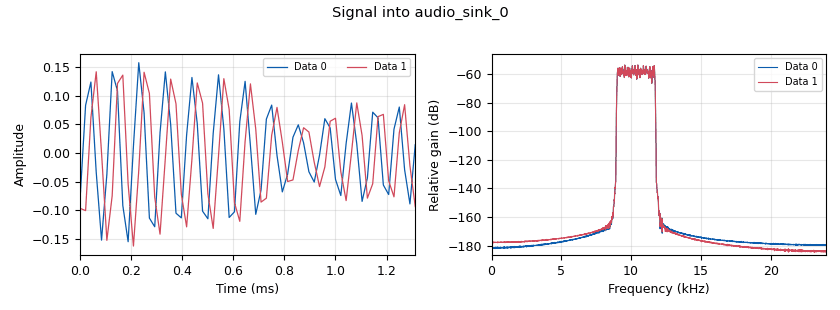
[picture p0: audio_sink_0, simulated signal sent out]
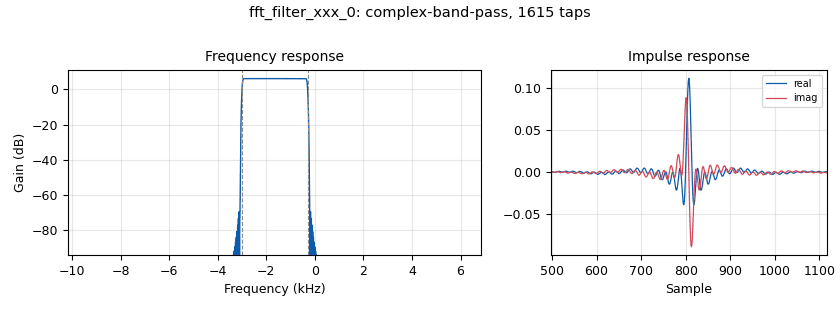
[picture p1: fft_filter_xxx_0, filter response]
<?xml version='1.0' encoding='utf-8'?>
<?grc format='1' created='3.7.10'?>
<flow_graph>
<block>
<key>options</key>
<param><key>id</key><value>tx_wav</value></param>
<param><key>generate_options</key><value>qt_gui</value></param>
</block>
<block>
<key>variable_qtgui_range</key>
<param><key>id</key><value>amp</value></param>
<param><key>value</key><value>3</value></param>
<param><key>orient</key><value>Qt.Horizontal</value></param>
<param><key>start</key><value>-40</value></param>
<param><key>step</key><value>1</value></param>
<param><key>stop</key><value>20</value></param>
</block>
<block>
<key>variable_qtgui_range</key>
<param><key>id</key><value>freq</value></param>
<param><key>value</key><value>samp_rate/4</value></param>
<param><key>orient</key><value>Qt.Horizontal</value></param>
<param><key>start</key><value>1e2</value></param>
<param><key>step</key><value>1</value></param>
<param><key>stop</key><value>samp_rate/2</value></param>
</block>
<block>
<key>variable</key>
<param><key>id</key><value>samp_rate</value></param>
<param><key>value</key><value>48e3</value></param>
</block>
<block>
<key>analog_agc_xx</key>
<param><key>id</key><value>analog_agc_xx_0</value></param>
<param><key>_enabled</key><value>0</value></param>
<param><key>gain</key><value>1.0</value></param>
<param><key>max_gain</key><value>65536</value></param>
<param><key>rate</key><value>1e-2</value></param>
<param><key>reference</key><value>0.5</value></param>
<param><key>type</key><value>complex</value></param>
</block>
<block>
<key>analog_noise_source_x</key>
<param><key>id</key><value>analog_noise_source_x_0</value></param>
<param><key>amp</key><value>pow(10.0,amp/10.0)</value></param>
<param><key>noise_type</key><value>analog.GR_GAUSSIAN</value></param>
<param><key>type</key><value>complex</value></param>
<param><key>seed</key><value>0</value></param>
</block>
<block>
<key>analog_sig_source_x</key>
<param><key>id</key><value>analog_sig_source_x_0</value></param>
<param><key>amp</key><value>0.1</value></param>
<param><key>freq</key><value>freq</value></param>
<param><key>offset</key><value>0</value></param>
<param><key>type</key><value>complex</value></param>
<param><key>samp_rate</key><value>samp_rate</value></param>
<param><key>waveform</key><value>analog.GR_COS_WAVE</value></param>
</block>
<block>
<key>audio_sink</key>
<param><key>id</key><value>audio_sink_0</value></param>
<param><key>num_inputs</key><value>2</value></param>
<param><key>samp_rate</key><value>int(samp_rate)</value></param>
</block>
<block>
<key>blocks_add_const_vxx</key>
<param><key>id</key><value>blocks_add_const_vxx_0</value></param>
<param><key>const</key><value>0</value></param>
<param><key>type</key><value>complex</value></param>
</block>
<block>
<key>blocks_complex_to_float</key>
<param><key>id</key><value>blocks_complex_to_float_0</value></param>
</block>
<block>
<key>blocks_float_to_complex</key>
<param><key>id</key><value>blocks_float_to_complex_0</value></param>
<param><key>_enabled</key><value>0</value></param>
</block>
<block>
<key>blocks_multiply_xx</key>
<param><key>id</key><value>blocks_multiply_xx_0</value></param>
<param><key>type</key><value>complex</value></param>
</block>
<block>
<key>blocks_wavfile_source</key>
<param><key>id</key><value>blocks_wavfile_source_0</value></param>
<param><key>_enabled</key><value>0</value></param>
<param><key>file</key><value>/home/handiko/Nightwish - Amaranth.wav</value></param>
<param><key>repeat</key><value>True</value></param>
</block>
<block>
<key>fft_filter_xxx</key>
<param><key>id</key><value>fft_filter_xxx_0</value></param>
<param><key>decim</key><value>1</value></param>
<param><key>taps</key><value>firdes.complex_band_pass(pow(10.0,amp/10.0),samp_rate,-3000,-300,100,firdes.WIN_BLACKMAN)</value></param>
<param><key>type</key><value>ccc</value></param>
</block>
<connection><source_block_id>analog_noise_source_x_0</source_block_id><sink_block_id>fft_filter_xxx_0</sink_block_id><source_key>0</source_key><sink_key>0</sink_key></connection>
<connection><source_block_id>analog_sig_source_x_0</source_block_id><sink_block_id>blocks_multiply_xx_0</sink_block_id><source_key>0</source_key><sink_key>1</sink_key></connection>
<connection><source_block_id>blocks_add_const_vxx_0</source_block_id><sink_block_id>blocks_multiply_xx_0</sink_block_id><source_key>0</source_key><sink_key>0</sink_key></connection>
<connection><source_block_id>blocks_complex_to_float_0</source_block_id><sink_block_id>audio_sink_0</sink_block_id><source_key>1</source_key><sink_key>1</sink_key></connection>
<connection><source_block_id>blocks_complex_to_float_0</source_block_id><sink_block_id>audio_sink_0</sink_block_id><source_key>0</source_key><sink_key>0</sink_key></connection>
<connection><source_block_id>blocks_float_to_complex_0</source_block_id><sink_block_id>fft_filter_xxx_0</sink_block_id><source_key>0</source_key><sink_key>0</sink_key></connection>
<connection><source_block_id>blocks_multiply_xx_0</source_block_id><sink_block_id>blocks_complex_to_float_0</sink_block_id><source_key>0</source_key><sink_key>0</sink_key></connection>
<connection><source_block_id>blocks_wavfile_source_0</source_block_id><sink_block_id>blocks_float_to_complex_0</sink_block_id><source_key>0</source_key><sink_key>0</sink_key></connection>
<connection><source_block_id>fft_filter_xxx_0</source_block_id><sink_block_id>blocks_add_const_vxx_0</sink_block_id><source_key>0</source_key><sink_key>0</sink_key></connection>
</flow_graph>
